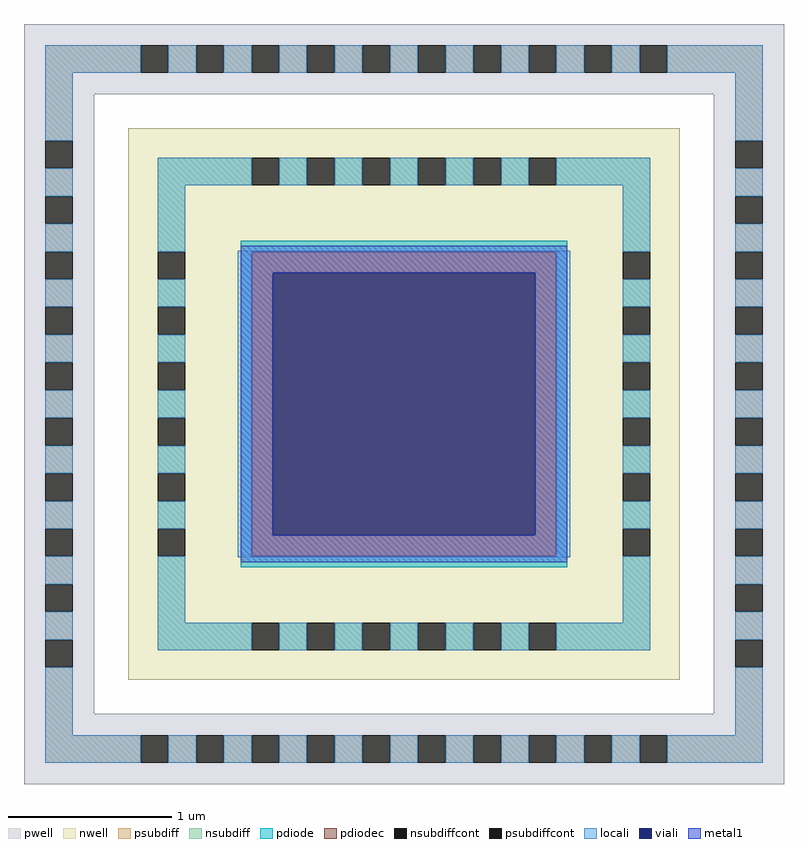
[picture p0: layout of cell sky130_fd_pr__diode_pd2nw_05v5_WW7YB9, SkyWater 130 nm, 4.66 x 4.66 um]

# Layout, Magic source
magic
tech sky130A
magscale 1 2
<< nwell >>
rect -338 -338 338 338
<< pwell >>
rect -466 380 466 466
rect -466 -380 -380 380
rect 380 -380 466 380
rect -466 -466 466 -380
<< psubdiff >>
rect -440 406 -323 440
rect -289 406 -255 440
rect -221 406 -187 440
rect -153 406 -119 440
rect -85 406 -51 440
rect -17 406 17 440
rect 51 406 85 440
rect 119 406 153 440
rect 187 406 221 440
rect 255 406 289 440
rect 323 406 440 440
rect -440 323 -406 406
rect 406 323 440 406
rect -440 255 -406 289
rect -440 187 -406 221
rect -440 119 -406 153
rect -440 51 -406 85
rect -440 -17 -406 17
rect -440 -85 -406 -51
rect -440 -153 -406 -119
rect -440 -221 -406 -187
rect -440 -289 -406 -255
rect 406 255 440 289
rect 406 187 440 221
rect 406 119 440 153
rect 406 51 440 85
rect 406 -17 440 17
rect 406 -85 440 -51
rect 406 -153 440 -119
rect 406 -221 440 -187
rect 406 -289 440 -255
rect -440 -406 -406 -323
rect 406 -406 440 -323
rect -440 -440 -323 -406
rect -289 -440 -255 -406
rect -221 -440 -187 -406
rect -153 -440 -119 -406
rect -85 -440 -51 -406
rect -17 -440 17 -406
rect 51 -440 85 -406
rect 119 -440 153 -406
rect 187 -440 221 -406
rect 255 -440 289 -406
rect 323 -440 440 -406
<< nsubdiff >>
rect -302 268 -187 302
rect -153 268 -119 302
rect -85 268 -51 302
rect -17 268 17 302
rect 51 268 85 302
rect 119 268 153 302
rect 187 268 302 302
rect -302 187 -268 268
rect -302 119 -268 153
rect -302 51 -268 85
rect -302 -17 -268 17
rect -302 -85 -268 -51
rect -302 -153 -268 -119
rect -302 -268 -268 -187
rect 268 187 302 268
rect 268 119 302 153
rect 268 51 302 85
rect 268 -17 302 17
rect 268 -85 302 -51
rect 268 -153 302 -119
rect 268 -268 302 -187
rect -302 -302 -187 -268
rect -153 -302 -119 -268
rect -85 -302 -51 -268
rect -17 -302 17 -268
rect 51 -302 85 -268
rect 119 -302 153 -268
rect 187 -302 302 -268
<< psubdiffcont >>
rect -323 406 -289 440
rect -255 406 -221 440
rect -187 406 -153 440
rect -119 406 -85 440
rect -51 406 -17 440
rect 17 406 51 440
rect 85 406 119 440
rect 153 406 187 440
rect 221 406 255 440
rect 289 406 323 440
rect -440 289 -406 323
rect -440 221 -406 255
rect -440 153 -406 187
rect -440 85 -406 119
rect -440 17 -406 51
rect -440 -51 -406 -17
rect -440 -119 -406 -85
rect -440 -187 -406 -153
rect -440 -255 -406 -221
rect -440 -323 -406 -289
rect 406 289 440 323
rect 406 221 440 255
rect 406 153 440 187
rect 406 85 440 119
rect 406 17 440 51
rect 406 -51 440 -17
rect 406 -119 440 -85
rect 406 -187 440 -153
rect 406 -255 440 -221
rect 406 -323 440 -289
rect -323 -440 -289 -406
rect -255 -440 -221 -406
rect -187 -440 -153 -406
rect -119 -440 -85 -406
rect -51 -440 -17 -406
rect 17 -440 51 -406
rect 85 -440 119 -406
rect 153 -440 187 -406
rect 221 -440 255 -406
rect 289 -440 323 -406
<< nsubdiffcont >>
rect -187 268 -153 302
rect -119 268 -85 302
rect -51 268 -17 302
rect 17 268 51 302
rect 85 268 119 302
rect 153 268 187 302
rect -302 153 -268 187
rect -302 85 -268 119
rect -302 17 -268 51
rect -302 -51 -268 -17
rect -302 -119 -268 -85
rect -302 -187 -268 -153
rect 268 153 302 187
rect 268 85 302 119
rect 268 17 302 51
rect 268 -51 302 -17
rect 268 -119 302 -85
rect 268 -187 302 -153
rect -187 -302 -153 -268
rect -119 -302 -85 -268
rect -51 -302 -17 -268
rect 17 -302 51 -268
rect 85 -302 119 -268
rect 153 -302 187 -268
<< pdiode >>
rect -200 187 200 200
rect -200 -187 -187 187
rect 187 -187 200 187
rect -200 -200 200 -187
<< pdiodec >>
rect -187 -187 187 187
<< locali >>
rect -440 406 -323 440
rect -289 406 -255 440
rect -221 406 -187 440
rect -153 406 -119 440
rect -85 406 -51 440
rect -17 406 17 440
rect 51 406 85 440
rect 119 406 153 440
rect 187 406 221 440
rect 255 406 289 440
rect 323 406 440 440
rect -440 323 -406 406
rect 406 323 440 406
rect -440 255 -406 289
rect -440 187 -406 221
rect -440 119 -406 153
rect -440 51 -406 85
rect -440 -17 -406 17
rect -440 -85 -406 -51
rect -440 -153 -406 -119
rect -440 -221 -406 -187
rect -440 -289 -406 -255
rect -302 268 -187 302
rect -153 268 -119 302
rect -85 268 -51 302
rect -17 268 17 302
rect 51 268 85 302
rect 119 268 153 302
rect 187 268 302 302
rect -302 187 -268 268
rect -302 119 -268 153
rect -302 51 -268 85
rect -302 -17 -268 17
rect -302 -85 -268 -51
rect -302 -153 -268 -119
rect -302 -268 -268 -187
rect -204 187 204 188
rect -204 -187 -187 187
rect 187 -187 204 187
rect -204 -188 204 -187
rect 268 187 302 268
rect 268 119 302 153
rect 268 51 302 85
rect 268 -17 302 17
rect 268 -85 302 -51
rect 268 -153 302 -119
rect 268 -268 302 -187
rect -302 -302 -187 -268
rect -153 -302 -119 -268
rect -85 -302 -51 -268
rect -17 -302 17 -268
rect 51 -302 85 -268
rect 119 -302 153 -268
rect 187 -302 302 -268
rect 406 255 440 289
rect 406 187 440 221
rect 406 119 440 153
rect 406 51 440 85
rect 406 -17 440 17
rect 406 -85 440 -51
rect 406 -153 440 -119
rect 406 -221 440 -187
rect 406 -289 440 -255
rect -440 -406 -406 -323
rect 406 -406 440 -323
rect -440 -440 -323 -406
rect -289 -440 -255 -406
rect -221 -440 -187 -406
rect -153 -440 -119 -406
rect -85 -440 -51 -406
rect -17 -440 17 -406
rect 51 -440 85 -406
rect 119 -440 153 -406
rect 187 -440 221 -406
rect 255 -440 289 -406
rect 323 -440 440 -406
<< viali >>
rect -161 -161 161 161
<< metal1 >>
rect -200 161 200 194
rect -200 -161 -161 161
rect 161 -161 200 161
rect -200 -194 200 -161
<< properties >>
string FIXED_BBOX -284 -284 284 284
<< end >>
